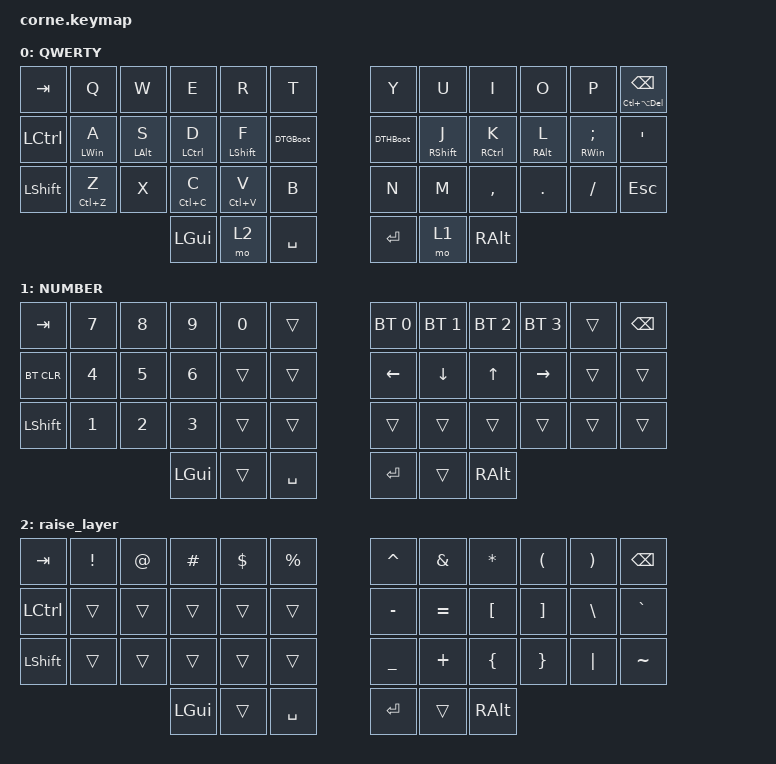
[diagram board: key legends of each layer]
/*
 * Copyright (c) 2020 The ZMK Contributors
 *
 * SPDX-License-Identifier: MIT
 */

#include <behaviors.dtsi>
#include <dt-bindings/zmk/bt.h>
#include <dt-bindings/zmk/keys.h>

/ {
    behaviors {
        HMShiftR: HMShiftR {
            compatible = "zmk,behavior-hold-tap";
            label = "HMSHIFTR";
            bindings = <&kp>, <&kp>;

            #binding-cells = <2>;
            tapping-term-ms = <200>;
            hold-while-undecided;
            hold-trigger-key-positions = <0 1 2 3 4 5 12 13 14 15 16 17 24 25 26 27 28 29 36 37 38>;
            hold-trigger-on-release;
        };

        HMShiftL: HMShiftL {
            compatible = "zmk,behavior-hold-tap";
            label = "HMSHIFTL";
            bindings = <&kp>, <&kp>;

            #binding-cells = <2>;
            tapping-term-ms = <200>;
            hold-while-undecided;
            hold-trigger-on-release;
            hold-trigger-key-positions = <6 7 8 9 10 11 18 19 20 21 22 23 30 31 32 33 34 35 39 40 41>;
        };

        HMR: HMR {
            compatible = "zmk,behavior-hold-tap";
            label = "HMR";
            bindings = <&kp>, <&kp>;

            #binding-cells = <2>;
            tapping-term-ms = <450>;
            hold-while-undecided;
            hold-trigger-key-positions = <0 1 2 3 4 5 12 13 14 15 16 17 24 25 26 27 28 29 36 37 38>;
            hold-trigger-on-release;
            flavor = "tap-preferred";
        };

        HML: HML {
            compatible = "zmk,behavior-hold-tap";
            label = "HML";
            bindings = <&kp>, <&kp>;

            #binding-cells = <2>;
            tapping-term-ms = <450>;
            hold-while-undecided;
            hold-trigger-on-release;
            hold-trigger-key-positions = <6 7 8 9 10 11 18 19 20 21 22 23 30 31 32 33 34 35 39 40 41>;
            flavor = "tap-preferred";
        };

        LongPress: LongPress {
            compatible = "zmk,behavior-hold-tap";
            label = "LONGPRESS";
            bindings = <&kp>, <&kp>;

            #binding-cells = <2>;
            tapping-term-ms = <500>;
            flavor = "tap-preferred";
            hold-trigger-on-release;
        };

        DTGBoot: DTGBoot {
            compatible = "zmk,behavior-tap-dance";
            label = "DTGBOOT";
            #binding-cells = <0>;
            bindings = <&kp G>, <&bootloader>;
        };

        DTHBoot: DTHBoot {
            compatible = "zmk,behavior-tap-dance";
            label = "DTHBOOT";
            #binding-cells = <0>;
            bindings = <&kp H>, <&bootloader>;
        };
    };

    keymap {
        compatible = "zmk,keymap";

        QWERTY {
            // -----------------------------------------------------------------------------------------
            // |  TAB |  Q  |  W  |  E  |  R  |  T  |   |  Y  |  U   |  I  |  O  |  P  | BSPC |
            // | CTRL |  A  |  S  |  D  |  F  |  G  |   |  H  |  J   |  K  |  L  |  ;  |  '   |
            // | SHFT |  Z  |  X  |  C  |  V  |  B  |   |  N  |  M   |  ,  |  .  |  /  | ESC  |
            //                    | GUI | LWR | SPC |   | ENT | RSE  | ALT |

            bindings = <
&kp TAB    &kp Q               &kp W            &kp E                &kp R                   &kp T        &kp Y     &kp U                    &kp I                 &kp O             &kp P                &LongPress LC(LA(DELETE)) BSPC
&kp LCTRL  &HML LEFT_WIN A     &HML LEFT_ALT S  &HML LEFT_CONTROL D  &HMShiftL LEFT_SHIFT F  &DTGBoot     &DTHBoot  &HMShiftR RIGHT_SHIFT J  &HMR RIGHT_CONTROL K  &HMR RIGHT_ALT L  &HMR RIGHT_WIN SEMI  &kp SQT
&kp LSHFT  &LongPress LC(Z) Z  &kp X            &LongPress LC(C) C   &LongPress LC(V) V      &kp B        &kp N     &kp M                    &kp COMMA             &kp DOT           &kp FSLH             &kp ESC
                                                &kp LGUI             &mo 2                   &kp SPACE    &kp RET   &mo 1                    &kp RALT
            >;
        };

        NUMBER {
            // -----------------------------------------------------------------------------------------
            // |  TAB |  1  |  2  |  3  |  4  |  5  |   |  6  |  7  |  8  |  9  |  0  | BSPC |
            // | BTCLR| BT1 | BT2 | BT3 | BT4 | BT5 |   | LFT | DWN |  UP | RGT |     |      |
            // | SHFT |     |     |     |     |     |   |     |     |     |     |     |      |
            //                    | GUI |     | SPC |   | ENT |     | ALT |

            bindings = <
&kp TAB     &kp N7        &kp N8        &kp N9        &kp N0  &trans       &bt BT_SEL 0  &bt BT_SEL 1  &bt BT_SEL 2  &bt BT_SEL 3  &trans  &kp BSPC
&bt BT_CLR  &kp NUMBER_4  &kp NUMBER_5  &kp NUMBER_6  &trans  &trans       &kp LEFT      &kp DOWN      &kp UP        &kp RIGHT     &trans  &trans
&kp LSHFT   &kp NUMBER_1  &kp NUMBER_2  &kp NUMBER_3  &trans  &trans       &trans        &trans        &trans        &trans        &trans  &trans
                                        &kp LGUI      &trans  &kp SPACE    &kp RET       &trans        &kp RALT
            >;
        };

        raise_layer {
            // -----------------------------------------------------------------------------------------
            // |  TAB |  !  |  @  |  #  |  $  |  %  |   |  ^  |  &  |  *  |  (  |  )  | BSPC |
            // | CTRL |     |     |     |     |     |   |  -  |  =  |  [  |  ]  |  \  |  `   |
            // | SHFT |     |     |     |     |     |   |  _  |  +  |  {  |  }  | "|" |  ~   |
            //                    | GUI |     | SPC |   | ENT |     | ALT |

            bindings = <
&kp TAB    &kp EXCL  &kp AT  &kp HASH  &kp DLLR  &kp PRCNT    &kp CARET  &kp AMPS   &kp ASTRK  &kp LPAR  &kp RPAR  &kp BSPC
&kp LCTRL  &trans    &trans  &trans    &trans    &trans       &kp MINUS  &kp EQUAL  &kp LBKT   &kp RBKT  &kp BSLH  &kp GRAVE
&kp LSHFT  &trans    &trans  &trans    &trans    &trans       &kp UNDER  &kp PLUS   &kp LBRC   &kp RBRC  &kp PIPE  &kp TILDE
                             &kp LGUI  &trans    &kp SPACE    &kp RET    &trans     &kp RALT
            >;
        };
    };
};
